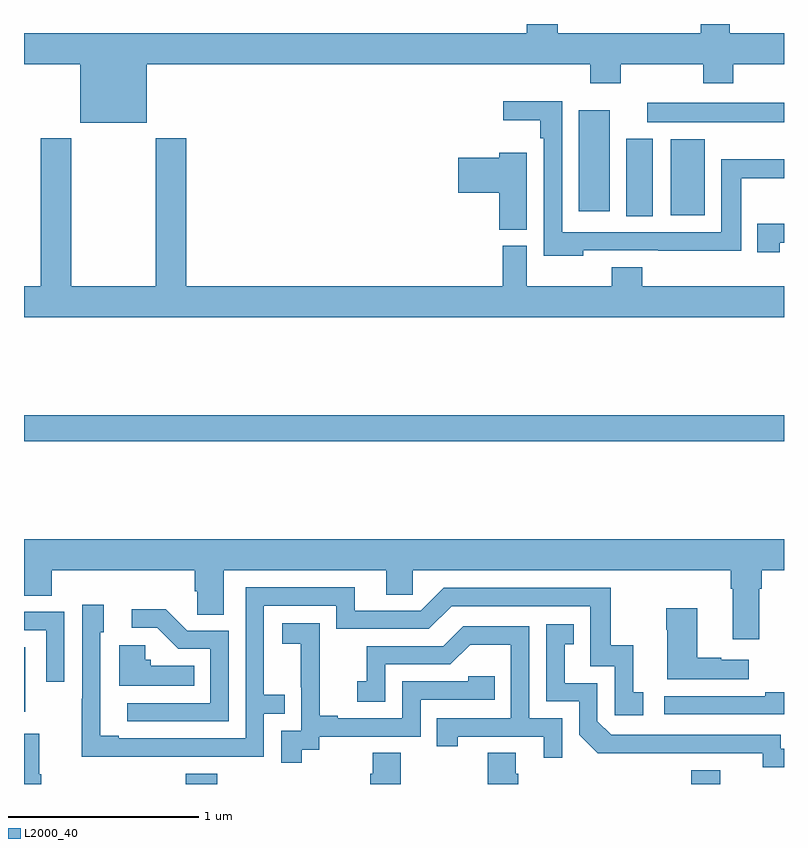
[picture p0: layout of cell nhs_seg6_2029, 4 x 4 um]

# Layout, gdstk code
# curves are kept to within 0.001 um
import gdstk
lib = gdstk.Library(unit=1e-6, precision=1e-09)
def R(c, l, rs):  # rectangles x0, y0, x1, y1
    for r in rs: c.add(gdstk.rectangle(r[:2], r[2:], *l))
def P(c, l, *ps):  # polygons
    for p in ps: c.add(gdstk.Polygon(p, *l))
L2000_40 = (2000, 40)

nhs_seg6_2029 = lib.new_cell('nhs_seg6_2029')
R(nhs_seg6_2029, L2000_40, [(231.851,991.5,232.016,991.555), (234.512,991.5,234.664,991.573), (231,991.881,231.007,992.221), (231,993.304,235,993.44), (234.17,994.489,234.31,994.897), (234.404,994.493,234.583,994.894), (233.921,994.515,234.082,995.047), (234.279,994.982,235,995.086)])
P(nhs_seg6_2029, L2000_40, [(231.646,995.288),(233.981,995.288),(233.981,995.189),(234.141,995.189),(234.141,995.288),(234.574,995.288),(234.574,995.189),(234.734,995.189),(234.734,995.288),(235,995.288),(235,995.452),(234.715,995.452),(234.715,995.5),(234.563,995.5),(234.563,995.452),(233.81,995.452),(233.81,995.5),(233.645,995.5),(233.645,995.452),(231,995.452),(231,995.288),(231.296,995.288),(231.296,994.979),(231.646,994.979)],
  [(233.943,994.308),(234.337,994.308),(234.337,994.307),(234.775,994.307),(234.775,994.687),(235,994.687),(235,994.787),(234.671,994.787),(234.671,994.404),(233.832,994.404),(233.832,995.093),(233.523,995.093),(233.523,994.994),(233.716,994.994),(233.716,994.898),(233.736,994.898),(233.736,994.28),(233.943,994.28)],
  [(235,994.12),(234.254,994.12),(234.254,994.219),(234.094,994.219),(234.094,994.12),(233.647,994.12),(233.647,994.332),(233.519,994.332),(233.519,994.12),(231.854,994.12),(231.854,994.9),(231.694,994.9),(231.694,994.12),(231.249,994.12),(231.249,994.9),(231.089,994.9),(231.089,994.12),(231,994.12),(231,993.956),(235,993.956)],
  [(233.647,994.822),(233.501,994.822),(233.501,994.796),(233.286,994.796),(233.286,994.613),(233.501,994.613),(233.501,994.417),(233.647,994.417)],
  [(234.978,994.349),(235,994.349),(235,994.449),(234.86,994.449),(234.86,994.299),(234.978,994.299)],
  [(234.871,992.528),(234.884,992.528),(234.884,992.624),(235,992.624),(235,992.788),(231,992.788),(231,992.491),(231.146,992.491),(231.146,992.624),(231.899,992.624),(231.899,992.515),(231.912,992.515),(231.912,992.392),(232.051,992.392),(232.051,992.624),(232.907,992.624),(232.907,992.497),(233.046,992.497),(233.046,992.624),(234.719,992.624),(234.719,992.528),(234.731,992.528),(234.731,992.262),(234.871,992.262)],
  [(231.767,991.644),(232.263,991.644),(232.263,991.869),(232.373,991.869),(232.373,991.97),(232.263,991.97),(232.263,992.439),(232.644,992.439),(232.644,992.316),(233.13,992.316),(233.25,992.436),(233.979,992.436),(233.979,992.121),(234.108,992.121),(234.108,991.863),(234.259,991.863),(234.259,991.983),(234.206,991.983),(234.206,992.23),(234.088,992.23),(234.088,992.532),(233.208,992.532),(233.088,992.412),(232.741,992.412),(232.741,992.535),(232.167,992.535),(232.167,991.74),(231.499,991.74),(231.499,991.753),(231.402,991.753),(231.402,992.298),(231.421,992.298),(231.421,992.443),(231.306,992.443),(231.306,991.949),(231.304,991.949),(231.304,991.643)],
  [(234.814,992.155),(234.671,992.155),(234.671,992.165),(234.544,992.165),(234.544,992.425),(234.379,992.425),(234.379,992.312),(234.386,992.312),(234.386,992.051),(234.814,992.051)],
  [(232.077,992.307),(231.858,992.307),(231.745,992.42),(231.567,992.42),(231.567,992.322),(231.701,992.322),(231.812,992.211),(231.981,992.211),(231.981,991.926),(231.543,991.926),(231.543,991.83),(232.077,991.83)],
  [(231.213,992.406),(231,992.406),(231,992.31),(231.117,992.31),(231.117,992.037),(231.213,992.037)],
  [(232.462,991.681),(232.554,991.681),(232.554,991.749),(233.088,991.749),(233.088,991.944),(233.477,991.944),(233.477,992.067),(233.337,992.067),(233.337,992.04),(232.992,992.04),(232.992,991.845),(232.651,991.845),(232.651,991.858),(232.556,991.858),(232.556,992.141),(232.557,992.141),(232.557,992.347),(232.359,992.347),(232.359,992.237),(232.457,992.237),(232.457,992.009),(232.458,992.009),(232.458,991.779),(232.353,991.779),(232.353,991.611),(232.462,991.611)],
  [(235,991.686),(234.984,991.686),(234.984,991.758),(234.09,991.758),(234.018,991.83),(234.018,992.031),(233.845,992.031),(233.845,992.235),(233.894,992.235),(233.894,992.341),(233.748,992.341),(233.748,991.935),(233.922,991.935),(233.922,991.758),(234.02,991.661),(234.888,991.662),(234.888,991.589),(235,991.589)],
  [(233.832,991.845),(233.658,991.845),(233.658,992.331),(233.312,992.331),(233.207,992.226),(232.804,992.226),(232.804,992.041),(232.755,992.041),(232.755,991.932),(232.902,991.932),(232.902,992.13),(233.244,992.13),(233.348,992.234),(233.562,992.234),(233.562,991.845),(233.173,991.845),(233.173,991.698),(233.284,991.698),(233.284,991.749),(233.735,991.749),(233.735,991.638),(233.832,991.638)],
  [(231.896,992.122),(231.666,992.122),(231.666,992.154),(231.639,992.154),(231.639,992.23),(231.5,992.23),(231.5,992.018),(231.896,992.018)],
  [(235,991.982),(234.901,991.982),(234.901,991.962),(234.369,991.962),(234.369,991.866),(235,991.866)],
  [(231.092,991.552),(231.079,991.552),(231.079,991.765),(231,991.765),(231,991.5),(231.092,991.5)],
  [(233.6,991.554),(233.587,991.554),(233.587,991.664),(233.44,991.664),(233.44,991.5),(233.6,991.5)],
  [(232.983,991.664),(232.835,991.664),(232.835,991.554),(232.823,991.554),(232.823,991.5),(232.983,991.5)])

lib.write_gds('nhs_seg6_2029.gds')
